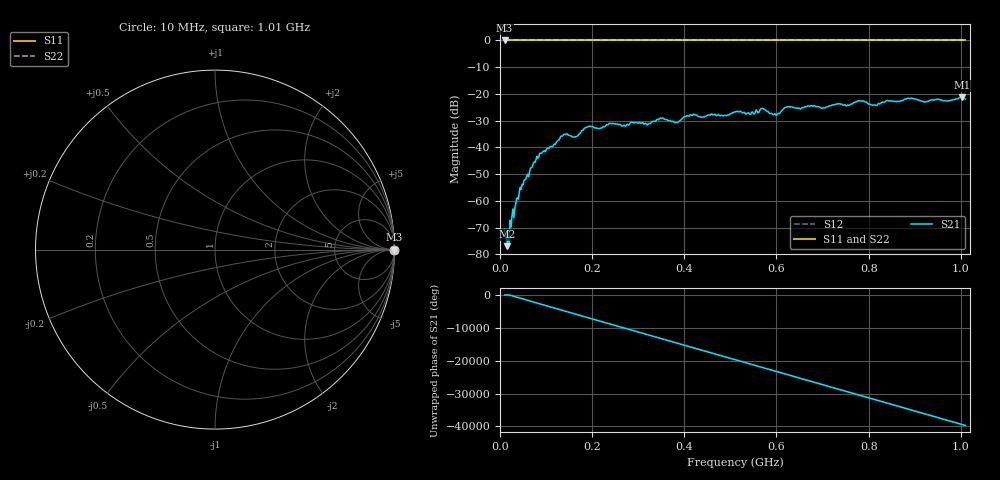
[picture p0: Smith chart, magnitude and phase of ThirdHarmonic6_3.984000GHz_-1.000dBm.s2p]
! 8/17/2025 2:11:53 PM
! C:\ANRITSUVNA\TEMP\TEMP.S2P
! CHANNEL.1
! TR.MEASUREMENT
! RAW.DATA
! RF.CORRECTION.OFF
! AVERAGING.OFF
! IF.BANDWIDTH: 5KHZ
! SWEEPTYPE:  FREQ.SWEEP(Linear)
! Reference Plane Port Info
! PORT:  PORT1  PORT2
! DISTANCE:  0  m  0  m
! TIME:  0  s  0  s
! PHASE.OFFSET:  0  deg.  0  deg.
! LOSS:  0  dB  0  dB
! REF.LOSS:  0  dB  0  dB
! REF.FREQ:  0  Hz  0  Hz
! Power Info
! POWER:  -20  dBm  -20  dBm
! EFF.POWER:  -20  dBm  -20  dBm
! SOURCE.ATTEN:  0  dB  0  dB
! TEST.ATTEN:  0  dB  0  dB
# GHZ S RI R 50.0
! FREQ.GHZ  S11RE  S11IM  S21RE  S21IM  S12RE  S12IM  S22RE  S22IM
!; PortSelection: Port_12
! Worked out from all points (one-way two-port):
!   501 points, 10 MHz to 1.01 GHz, reference 50 ohm
!   highest |S21| = -21.29 dB at 1.002 GHz (marker M1); lowest = -76.9 dB at 16 MHz (marker M2)
!   lowest |S11| = 0.0 dB at 10 MHz (marker M3)
!   |S11| at or under -10 dB: nowhere
!   |S22| runs from 0.0 to 0.0 dB; largest |S21 - S12| = 1.1
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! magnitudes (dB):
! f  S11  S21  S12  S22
! 10 MHz  0.0  -70.6  0.0  0.0
! 16 MHz  0.0  -76.9  0.0  0.0
! 40 MHz  0.0  -59.4  0.0  0.0
! 76 MHz  0.0  -45.6  0.0  0.0
! 136 MHz  0.0  -35.7  0.0  0.0
! 164 MHz  0.0  -36.0  0.0  0.0
! 178 MHz  0.0  -33.6  0.0  0.0
! 194 MHz  0.0  -32.0  0.0  0.0
! 322 MHz  0.0  -31.2  0.0  0.0
! 344 MHz  0.0  -29.7  0.0  0.0
! 382 MHz  0.0  -30.7  0.0  0.0
! 416 MHz  0.0  -28.0  0.0  0.0
! 510 MHz  0.0  -26.7  0.0  0.0
! 570 MHz  0.0  -25.5  0.0  0.0
! 598 MHz  0.0  -27.7  0.0  0.0
! 624 MHz  0.0  -24.8  0.0  0.0
! 678 MHz  0.0  -24.5  0.0  0.0
! 780 MHz  0.0  -22.6  0.0  0.0
! 814 MHz  0.0  -24.1  0.0  0.0
! 844 MHz  0.0  -22.6  0.0  0.0
! 1.002 GHz  0.0  -21.3  0.0  0.0
! 1.01 GHz  0.0  -21.9  0.0  0.0
